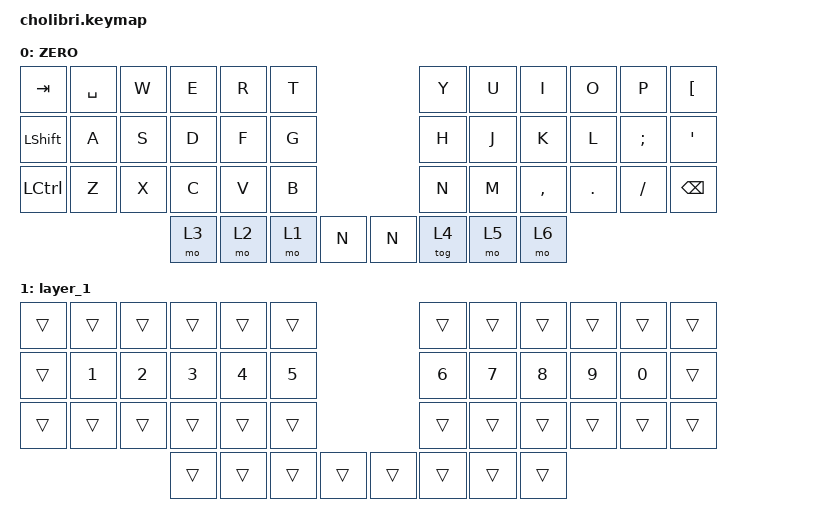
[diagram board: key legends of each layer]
#include <behaviors.dtsi>
#include <dt-bindings/zmk/keys.h>

/ {
    keymap {
        compatible = "zmk,keymap";

        DEFAULT {
            // --------------------------------------------------------------------------------------------------------------------------------------------------------------------
            // |   ESC   |    Q    |    W    |    E    |    R    |    T    |                                          |    Y    |    U    |    I    |    O    |    P    |    \    |
            // |   TAB   |    A    |    S    |    D    |    F    |    G    |                                          |    H    |    J    |    K    |    L    |    ;    |    '    |
            // |  SHIFT  |    Z    |    X    |    C    |    V    |    B    |                                          |    N    |    M    |    ,    |    .    |    /    |  R CTRL |
            //                               |   GUI   |   DEL   | RETURN  |  SPACE  |                      |  SPACE  |   TAB   |   BSPC  |  R ALT  |

            bindings = <
&kp TAB         &kp SPACE  &kp W  &kp E  &kp R  &kp T                &kp Y   &kp U  &kp I      &kp O    &kp P     &kp LBKT
&kp LEFT_SHIFT  &kp A      &kp S  &kp D  &kp F  &kp G                &kp H   &kp J  &kp K      &kp L    &kp SEMI  &kp APOS
&kp LCTRL       &kp Z      &kp X  &kp C  &kp V  &kp B                &kp N   &kp M  &kp COMMA  &kp DOT  &kp FSLH  &kp BSPC
                                  &mo 3  &mo 2  &mo 1  &kp N  &kp N  &tog 4  &mo 5  &mo 6
            >;

            label = "ZERO";
        };

        layer_1 {
            bindings = <
&trans  &trans  &trans  &trans  &trans  &trans                  &trans  &trans  &trans  &trans  &trans  &trans
&trans  &kp N1  &kp N2  &kp N3  &kp N4  &kp N5                  &kp N6  &kp N7  &kp N8  &kp N9  &kp N0  &trans
&trans  &trans  &trans  &trans  &trans  &trans                  &trans  &trans  &trans  &trans  &trans  &trans
                        &trans  &trans  &trans  &trans  &trans  &trans  &trans  &trans
            >;
        };
    };
};
